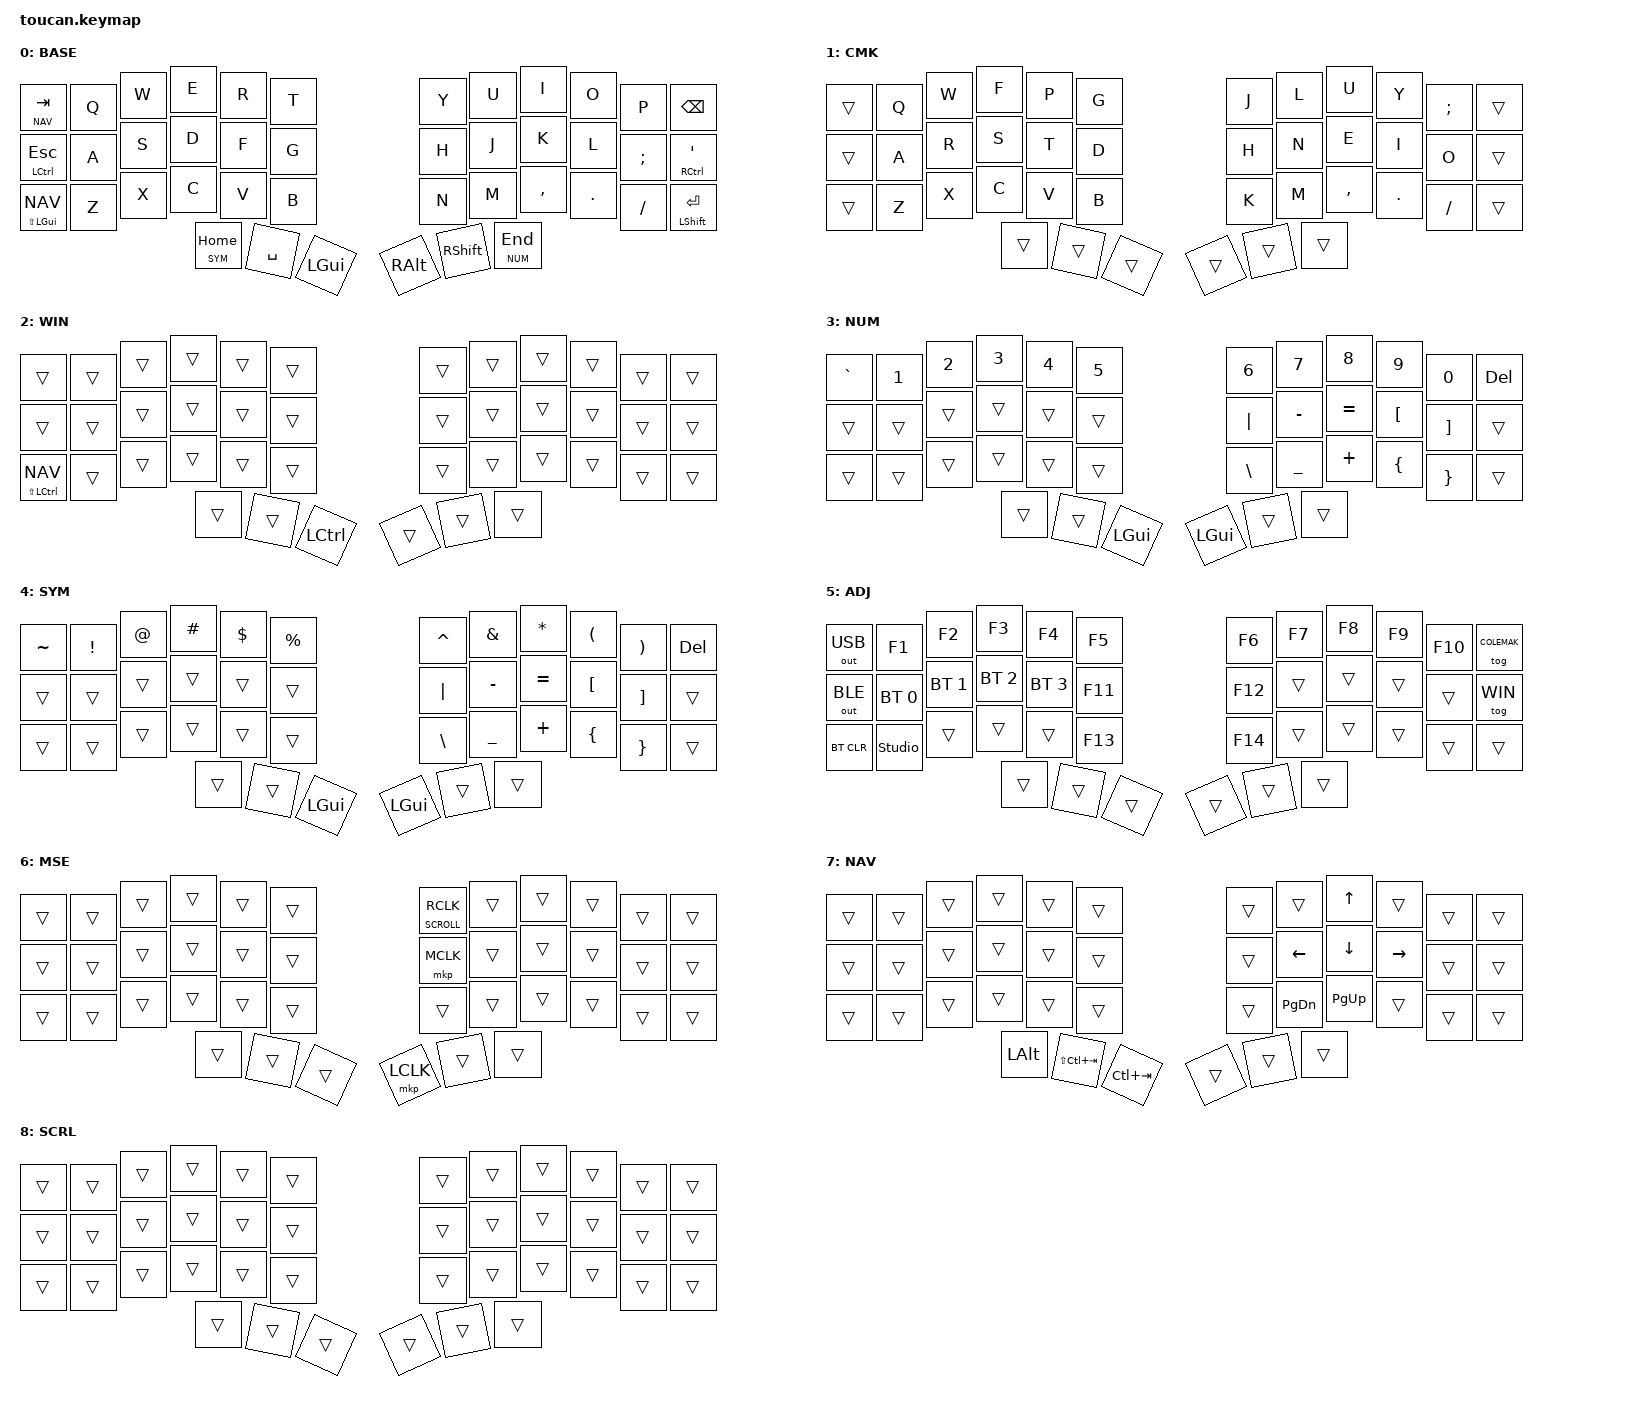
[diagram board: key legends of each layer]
#include <behaviors.dtsi>
#include <dt-bindings/zmk/pointing.h>
#include <dt-bindings/zmk/keys.h>
#include <dt-bindings/zmk/bt.h>
#include <dt-bindings/zmk/outputs.h>

// Renumbering these means updating the trackpad's hardcoded MOUSE/SCROLL indices in
// boards/shields/toucan/toucan.dtsi, which cannot see these macros.
#define BASE    0
#define COLEMAK 1
#define WIN     2
#define NUM     3
#define SYM     4
#define ADJ     5
#define MOUSE   6
#define NAV     7
#define SCROLL  8

#define TFWD LC(TAB)
#define TBAK LS(LC(TAB))

&lt {
    flavor = "hold-preferred";
};

/ {
    conditional_layers {
        compatible = "zmk,conditional-layers";
        tri_layer {
            if-layers = <3 4>;
            then-layer = <5>;
        };
    };

    behaviors {
        mttp: behavior_mod_tap_tap_preferred {
            compatible = "zmk,behavior-hold-tap";
            #binding-cells = <2>;
            flavor = "tap-preferred";
            tapping-term-ms = <200>;
            quick-tap-ms = <125>;
            bindings = <&kp>, <&kp>;
            display-name = "Mod-Tap-Tap-Preferred";
        };

        rclk_scrl: rclk_scroll {
            compatible = "zmk,behavior-hold-tap";
            #binding-cells = <2>;
            flavor = "hold-preferred";
            tapping-term-ms = <150>;
            bindings = <&mo>, <&mkp>;
        };

        kp_tog: kp_tog {
            compatible = "zmk,behavior-hold-tap";
            #binding-cells = <2>;
            flavor = "hold-preferred";
            tapping-term-ms = <200>;
            bindings = <&kp>, <&tog>;
        };

        mo_kp: mo_kp {
            compatible = "zmk,behavior-hold-tap";
            #binding-cells = <2>;
            flavor = "hold-preferred";
            tapping-term-ms = <150>;
            quick-tap-ms = <125>;
            require-prior-idle-ms = <125>;
            bindings = <&mo>, <&kp>;
        };
    };

    combos {
        compatible = "zmk,combos";
        combo_del_word {
            timeout-ms = <50>;
            key-positions = <10 11>;
            bindings = <&kp LA(BSPC)>;
        };
    };

    keymap {
        compatible = "zmk,keymap";

        base {
            display-name = "BASE";
            bindings = <
                &mo_kp NAV TAB       &kp Q &kp W        &kp E     &kp R    &kp T &kp Y &kp U    &kp I     &kp O       &kp P    &kp BSPC
                &mttp LCTRL ESC      &kp A &kp S        &kp D     &kp F    &kp G &kp H &kp J    &kp K     &kp L       &kp SEMI &mttp RCTL SQT
                &kp_tog LS(LGUI) NAV &kp Z &kp X        &kp C     &kp V    &kp B &kp N &kp M    &kp COMMA &kp DOT     &kp FSLH &mttp LSHFT ENTER
                                           &lt SYM HOME &kp SPACE &kp LGUI             &kp RALT &kp RSHFT &lt NUM END
            >;
        };

        colemak {
            display-name = "CMK";
            bindings = <
                &trans &kp Q &kp W  &kp F  &kp P  &kp G &kp J &kp L  &kp U     &kp Y   &kp SEMI &trans
                &trans &kp A &kp R  &kp S  &kp T  &kp D &kp H &kp N  &kp E     &kp I   &kp O    &trans
                &trans &kp Z &kp X  &kp C  &kp V  &kp B &kp K &kp M  &kp COMMA &kp DOT &kp FSLH &trans
                             &trans &trans &trans             &trans &trans    &trans
            >;
        };

        win {
            display-name = "WIN";
            bindings = <
                &trans                &trans &trans &trans &trans    &trans &trans &trans &trans &trans &trans &trans
                &trans                &trans &trans &trans &trans    &trans &trans &trans &trans &trans &trans &trans
                &kp_tog LS(LCTRL) NAV &trans &trans &trans &trans    &trans &trans &trans &trans &trans &trans &trans
                                             &trans &trans &kp LCTRL               &trans &trans &trans
            >;
        };

        num {
            display-name = "NUM";
            bindings = <
                &kp GRAVE &kp N1 &kp N2 &kp N3 &kp N4   &kp N5 &kp N6   &kp N7    &kp N8    &kp N9   &kp N0   &kp DEL
                &trans    &trans &trans &trans &trans   &trans &kp PIPE &kp MINUS &kp EQUAL &kp LBKT &kp RBKT &trans
                &trans    &trans &trans &trans &trans   &trans &kp BSLH &kp UNDER &kp PLUS  &kp LBRC &kp RBRC &trans
                                 &trans &trans &kp LGUI                 &kp LGUI  &trans    &trans
            >;
        };

        sym {
            display-name = "SYM";
            bindings = <
                &kp TILDE &kp EXCL &kp AT &kp HASH &kp DLLR &kp PRCNT &kp CARET &kp AMPS  &kp ASTRK &kp LPAR &kp RPAR &kp DEL
                &trans    &trans   &trans &trans   &trans   &trans    &kp PIPE  &kp MINUS &kp EQUAL &kp LBKT &kp RBKT &trans
                &trans    &trans   &trans &trans   &trans   &trans    &kp BSLH  &kp UNDER &kp PLUS  &kp LBRC &kp RBRC &trans
                                   &trans &trans   &kp LGUI                     &kp LGUI  &trans    &trans
            >;
        };

        adj {
            display-name = "ADJ";
            bindings = <
                &out OUT_USB &kp F1         &kp F2        &kp F3        &kp F4       &kp F5  &kp F6  &kp F7 &kp F8 &kp F9 &kp F10 &tog COLEMAK
                &out OUT_BLE &bt BT_SEL 0   &bt BT_SEL 1  &bt BT_SEL 2  &bt BT_SEL 3 &kp F11 &kp F12 &trans &trans &trans &trans  &tog WIN
                &bt BT_CLR   &studio_unlock &trans        &trans        &trans       &kp F13 &kp F14 &trans &trans &trans &trans  &trans
                                            &trans        &trans        &trans                       &trans &trans &trans
            >;
        };

        mouse {
            display-name = "MSE";
            bindings = <
                &trans &trans &trans &trans &trans &trans &rclk_scrl SCROLL RCLK &trans &trans &trans &trans &trans
                &trans &trans &trans &trans &trans &trans &mkp MCLK              &trans &trans &trans &trans &trans
                &trans &trans &trans &trans &trans &trans &trans                 &trans &trans &trans &trans &trans
                              &trans &trans &trans                               &mkp LCLK &trans &trans
            >;
        };

        nav {
            display-name = "NAV";
            bindings = <
                &trans &trans &trans   &trans   &trans   &trans &trans &trans    &kp UP    &trans    &trans &trans
                &trans &trans &trans   &trans   &trans   &trans &trans &kp LEFT  &kp DOWN  &kp RIGHT &trans &trans
                &trans &trans &trans   &trans   &trans   &trans &trans &kp PG_DN &kp PG_UP &trans    &trans &trans
                              &kp LALT &kp TBAK &kp TFWD               &trans    &trans    &trans
            >;
        };

        scroll {
            display-name = "SCRL";
            bindings = <
                &trans &trans &trans &trans &trans &trans &trans &trans &trans &trans &trans &trans
                &trans &trans &trans &trans &trans &trans &trans &trans &trans &trans &trans &trans
                &trans &trans &trans &trans &trans &trans &trans &trans &trans &trans &trans &trans
                              &trans &trans &trans               &trans &trans &trans
            >;
        };
    };
};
